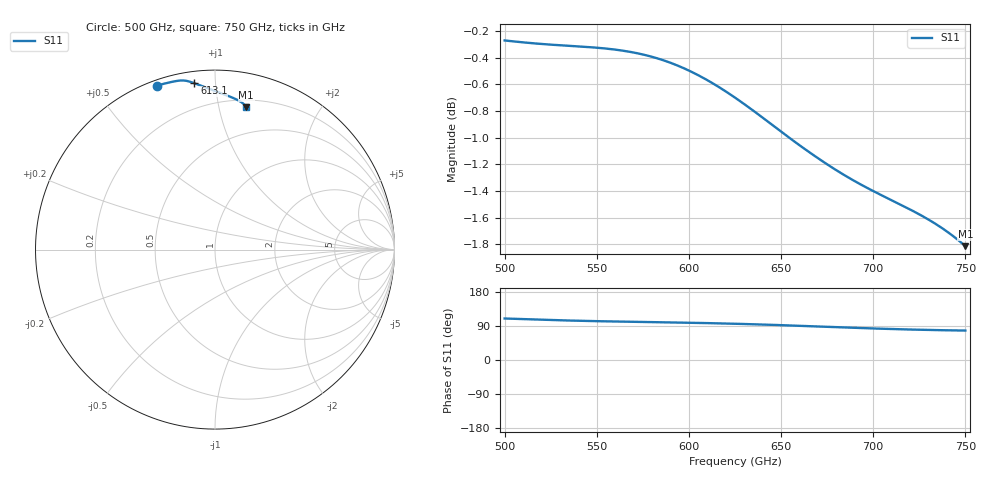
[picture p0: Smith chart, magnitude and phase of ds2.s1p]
# GHz S RI R 50.0
!freq	ReS11	ImS11
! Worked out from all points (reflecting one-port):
!   401 points, 500 GHz to 750 GHz, reference 50 ohm
!   lowest |S11| = -1.8 dB at 750 GHz (marker M1), VSWR 9.61, Z = 13 + j60.4 ohm
!   phase of S11 starts at 110 deg and turns -32 deg over the sweep
!   S11 on the Smith chart (normalised r, x): 500 GHz: 0.02, +0.71; 613.1 GHz: 0.06, +0.88; 750 GHz: 0.26, +1.21
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500  -0.3238 0.9135
501.25  -0.3205 0.9144
520.625  -0.269 0.928
531.25  -0.2438 0.9337
538.125  -0.2294 0.9367
545.625  -0.2154 0.9392
553.75  -0.202 0.9412
562.5  -0.1891 0.9422
578.125  -0.1679 0.9415
586.25  -0.1569 0.9397
593.75  -0.1462 0.9371
603.75  -0.1307 0.9324
613.125  -0.1144 0.9268
625  -0.0909 0.918
632.5  -0.0743 0.9117
640  -0.0564 0.905
647.5  -0.0374 0.8978
656.25  -0.014 0.8891
676.875  0.0426 0.8682
687.5  0.0706 0.8574
696.25  0.0921 0.8487
703.75  0.109 0.8414
711.25  0.1241 0.8343
718.75  0.1374 0.8271
726.875  0.1498 0.8191
735  0.1601 0.8106
743.125  0.1681 0.8014
750  0.1733 0.7928
